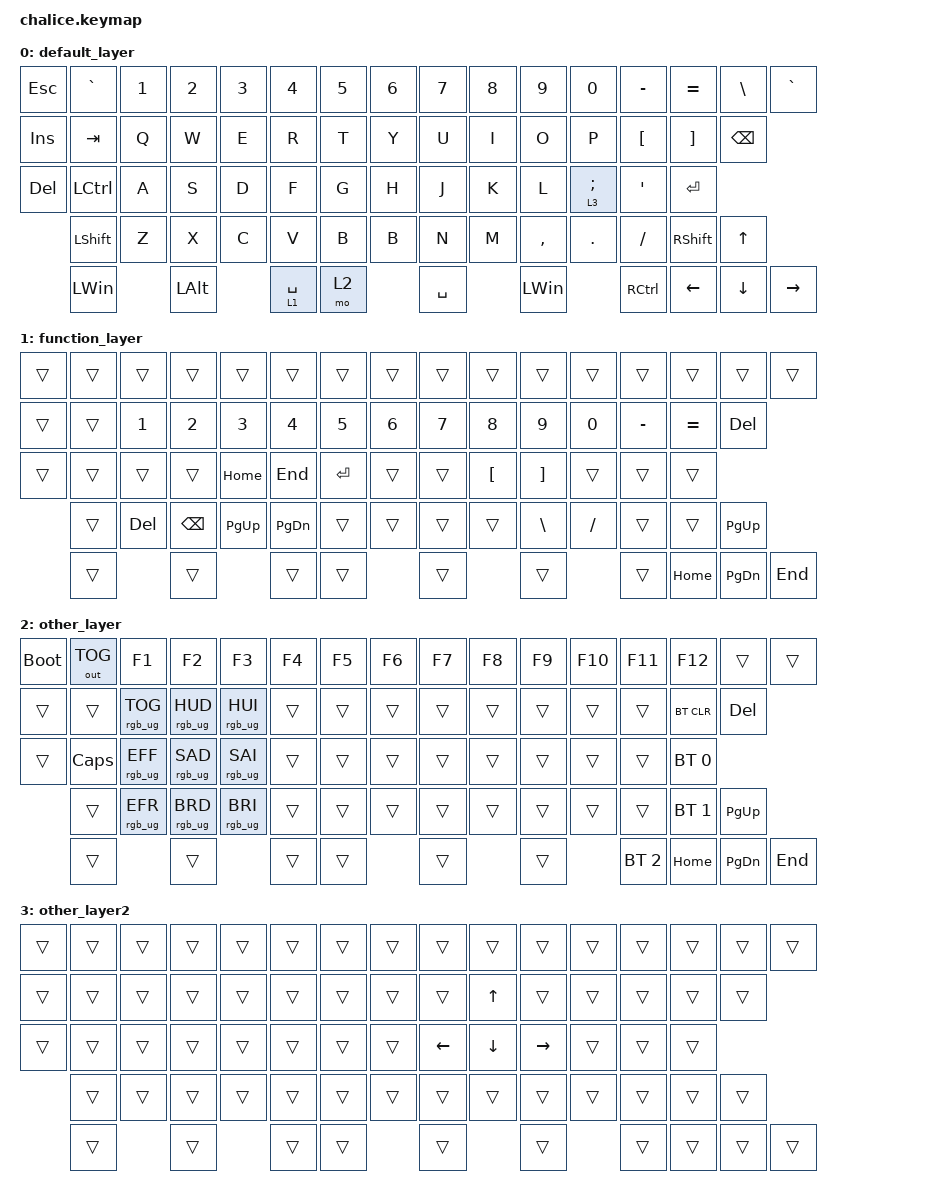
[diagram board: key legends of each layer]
/*
 * Copyright (c) 2021 The ZMK Contributors
 *
 * SPDX-License-Identifier: MIT
 */

#include <behaviors.dtsi>
#include <dt-bindings/zmk/keys.h>
#include <dt-bindings/zmk/bt.h>
#include <dt-bindings/zmk/rgb.h>
#include <dt-bindings/zmk/outputs.h>

/ {
        chosen { zmk,kscan = &kscan0; zmk,matrix_transform = &splitbs_transform; };
        keymap {
                compatible = "zmk,keymap";

                default_layer {

                        bindings = <
   &kp ESC         &kp GRAVE    &kp N1       &kp N2       &kp N3       &kp N4       &kp N5       &kp N6       &kp N7       &kp N8       &kp N9       &kp N0       &kp MINUS    &kp EQUAL    &kp BSLH     &kp GRAVE
   &kp INSERT      &kp TAB      &kp Q        &kp W        &kp E        &kp R        &kp T        &kp Y        &kp U        &kp I        &kp O        &kp P        &kp LBKT     &kp RBKT     &kp BSPC
   &kp DELETE      &kp LCTRL    &kp A        &kp S        &kp D        &kp F        &kp G        &kp H        &kp J        &kp K        &kp L        &lt 3 SEMI   &kp SQT      &kp ENTER                    
                   &kp LSHFT    &kp Z        &kp X        &kp C        &kp V        &kp B        &kp B        &kp N        &kp M        &kp COMMA    &kp DOT      &kp SLASH    &kp RSHFT    &kp UP
                   &kp LWIN                  &kp LALT                  &lt 1 SPACE  &mo 2                     &kp SPACE                 &kp LWIN                  &kp RCTRL    &kp LEFT     &kp DOWN     &kp RIGHT 
                                >;
                        };

                function_layer {

                        bindings = <
   &trans          &trans       &trans           &trans          &trans          &trans       &trans       &trans       &trans       &trans       &trans       &trans       &trans       &trans       &trans       &trans
   &trans          &trans       &kp N1           &kp N2          &kp N3          &kp N4       &kp N5       &kp N6       &kp N7       &kp N8       &kp N9       &kp N0       &kp MINUS    &kp EQUAL    &kp DEL
   &trans          &trans       &trans           &trans          &kp HOME        &kp END      &kp ENTER    &trans       &trans       &kp LBKT     &kp RBKT     &trans       &trans       &trans 
                   &trans       &kp DEL          &kp BSPC        &kp PG_UP       &kp PG_DN    &trans       &trans       &trans       &trans       &kp BSLH     &kp SLASH    &trans       &trans       &kp PG_UP
                   &trans                        &trans                          &trans       &trans                    &trans                    &trans                    &trans       &kp HOME     &kp PG_DN    &kp END 
                                >;
                        };
                        
                other_layer {

                        bindings = <
   &bootloader     &out OUT_TOG &kp F1           &kp F2          &kp F3          &kp F4       &kp F5       &kp F6       &kp F7       &kp F8       &kp F9       &kp F10      &kp F11      &kp F12      &trans       &trans
   &trans          &trans       &rgb_ug RGB_TOG  &rgb_ug RGB_HUD &rgb_ug RGB_HUI &trans       &trans       &trans       &trans       &trans       &trans       &trans       &trans       &bt BT_CLR   &kp DEL
   &trans          &kp CAPS     &rgb_ug RGB_EFF  &rgb_ug RGB_SAD &rgb_ug RGB_SAI &trans       &trans       &trans       &trans       &trans       &trans       &trans       &trans       &bt BT_SEL 0
                   &trans       &rgb_ug RGB_EFR  &rgb_ug RGB_BRD &rgb_ug RGB_BRI &trans       &trans       &trans       &trans       &trans       &trans       &trans       &trans       &bt BT_SEL 1 &kp PG_UP
                   &trans                        &trans                          &trans       &trans                    &trans                    &trans                    &bt BT_SEL 2 &kp HOME     &kp PG_DN    &kp END 
                                >;
                        };
                        
                other_layer2 {

                        bindings = <
   &trans          &trans       &trans           &trans          &trans          &trans       &trans       &trans       &trans       &trans       &trans       &trans       &trans       &trans       &trans       &trans
   &trans          &trans       &trans           &trans          &trans          &trans       &trans       &trans       &trans       &kp UP       &trans       &trans       &trans       &trans       &trans
   &trans          &trans       &trans           &trans          &trans          &trans       &trans       &trans       &kp LEFT     &kp DOWN     &kp RIGHT    &trans       &trans       &trans 
                   &trans       &trans           &trans          &trans          &trans       &trans       &trans       &trans       &trans       &trans       &trans       &trans       &trans       &trans   
                   &trans                        &trans                          &trans       &trans                    &trans                    &trans                    &trans       &trans       &trans       &trans
                                >;
                        };
        };
};
